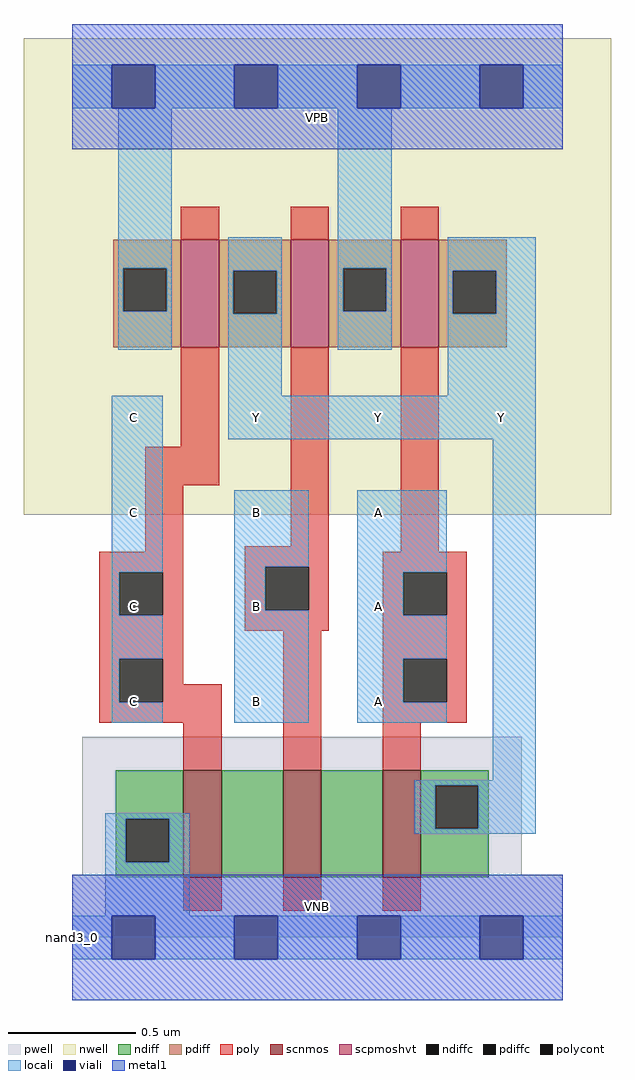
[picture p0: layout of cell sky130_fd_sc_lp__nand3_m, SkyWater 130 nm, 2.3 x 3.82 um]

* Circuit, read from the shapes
.subckt sky130_fd_sc_lp__nand3_m A B C VGND VNB VPB VPWR Y
XM1 n1 C VGND VNB sky130_fd_pr__nfet_01v8 w=0.42 l=0.15
XM2 n2 B n1 VNB sky130_fd_pr__nfet_01v8 w=0.42 l=0.15
XM3 Y A n2 VNB sky130_fd_pr__nfet_01v8 w=0.42 l=0.15
XM4 Y C VPWR VPB sky130_fd_pr__pfet_01v8_hvt w=0.42 l=0.15
XM5 VPWR B Y VPB sky130_fd_pr__pfet_01v8_hvt w=0.42 l=0.15
XM6 Y A VPWR VPB sky130_fd_pr__pfet_01v8_hvt w=0.42 l=0.15
.ends

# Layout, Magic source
magic
tech sky130A
magscale 1 2
<< nwell >>
rect -38 331 422 704
<< pwell >>
rect 8 49 352 157
rect 0 0 384 49
<< scnmos >>
rect 87 47 117 131
rect 165 47 195 131
rect 243 47 273 131
<< scpmoshvt >>
rect 85 462 115 546
rect 171 462 201 546
rect 257 462 287 546
<< ndiff >>
rect 34 93 87 131
rect 34 59 42 93
rect 76 59 87 93
rect 34 47 87 59
rect 117 47 165 131
rect 195 47 243 131
rect 273 119 326 131
rect 273 85 284 119
rect 318 85 326 119
rect 273 47 326 85
<< pdiff >>
rect 32 524 85 546
rect 32 490 40 524
rect 74 490 85 524
rect 32 462 85 490
rect 115 522 171 546
rect 115 488 126 522
rect 160 488 171 522
rect 115 462 171 488
rect 201 524 257 546
rect 201 490 212 524
rect 246 490 257 524
rect 201 462 257 490
rect 287 522 340 546
rect 287 488 298 522
rect 332 488 340 522
rect 287 462 340 488
<< ndiffc >>
rect 42 59 76 93
rect 284 85 318 119
<< pdiffc >>
rect 40 490 74 524
rect 126 488 160 522
rect 212 490 246 524
rect 298 488 332 522
<< poly >>
rect 85 546 115 572
rect 171 546 201 572
rect 257 546 287 572
rect 85 384 115 462
rect 57 354 115 384
rect 57 302 87 354
rect 171 306 201 462
rect 21 286 87 302
rect 21 252 37 286
rect 71 252 87 286
rect 21 218 87 252
rect 135 290 201 306
rect 257 302 287 462
rect 135 256 151 290
rect 185 256 201 290
rect 135 240 201 256
rect 243 286 309 302
rect 243 252 259 286
rect 293 252 309 286
rect 21 184 37 218
rect 71 198 87 218
rect 71 184 117 198
rect 21 168 117 184
rect 87 131 117 168
rect 165 131 195 240
rect 243 218 309 252
rect 243 184 259 218
rect 293 184 309 218
rect 243 168 309 184
rect 243 131 273 168
rect 87 21 117 47
rect 165 21 195 47
rect 243 21 273 47
<< polycont >>
rect 37 252 71 286
rect 151 256 185 290
rect 259 252 293 286
rect 37 184 71 218
rect 259 184 293 218
<< locali >>
rect 0 649 31 683
rect 65 649 127 683
rect 161 649 223 683
rect 257 649 319 683
rect 353 649 384 683
rect 36 524 78 649
rect 36 490 40 524
rect 74 490 78 524
rect 36 460 78 490
rect 122 522 164 548
rect 122 488 126 522
rect 160 488 164 522
rect 122 424 164 488
rect 208 524 250 649
rect 208 490 212 524
rect 246 490 250 524
rect 208 460 250 490
rect 294 522 363 548
rect 294 488 298 522
rect 332 488 363 522
rect 294 424 363 488
rect 31 286 71 424
rect 122 390 363 424
rect 31 252 37 286
rect 31 218 71 252
rect 31 184 37 218
rect 31 168 71 184
rect 127 290 185 350
rect 127 256 151 290
rect 127 168 185 256
rect 223 286 293 350
rect 223 252 259 286
rect 223 218 293 252
rect 223 184 259 218
rect 223 168 293 184
rect 329 123 363 390
rect 268 119 363 123
rect 26 93 92 97
rect 26 59 42 93
rect 76 59 92 93
rect 268 85 284 119
rect 318 85 363 119
rect 268 81 363 85
rect 26 17 92 59
rect 0 -17 31 17
rect 65 -17 127 17
rect 161 -17 223 17
rect 257 -17 319 17
rect 353 -17 384 17
<< viali >>
rect 31 649 65 683
rect 127 649 161 683
rect 223 649 257 683
rect 319 649 353 683
rect 31 -17 65 17
rect 127 -17 161 17
rect 223 -17 257 17
rect 319 -17 353 17
<< metal1 >>
rect 0 683 384 715
rect 0 649 31 683
rect 65 649 127 683
rect 161 649 223 683
rect 257 649 319 683
rect 353 649 384 683
rect 0 617 384 649
rect 0 17 384 49
rect 0 -17 31 17
rect 65 -17 127 17
rect 161 -17 223 17
rect 257 -17 319 17
rect 353 -17 384 17
rect 0 -49 384 -17
<< labels >>
flabel pwell s 0 0 384 49 0 FreeSans 200 0 0 0 VNB
port 5 nsew ground bidirectional
flabel nwell s 0 617 384 666 0 FreeSans 200 0 0 0 VPB
port 6 nsew power bidirectional
rlabel comment s 0 0 0 0 4 nand3_0
flabel metal1 s 0 617 384 666 0 FreeSans 340 0 0 0 VPWR
port 7 nsew power bidirectional
flabel metal1 s 0 0 384 49 0 FreeSans 340 0 0 0 VGND
port 4 nsew ground bidirectional
flabel locali s 223 168 257 202 0 FreeSans 340 0 0 0 A
port 1 nsew signal input
flabel locali s 223 242 257 276 0 FreeSans 340 0 0 0 A
port 1 nsew signal input
flabel locali s 223 316 257 350 0 FreeSans 340 0 0 0 A
port 1 nsew signal input
flabel locali s 127 168 161 202 0 FreeSans 340 0 0 0 B
port 2 nsew signal input
flabel locali s 127 242 161 276 0 FreeSans 340 0 0 0 B
port 2 nsew signal input
flabel locali s 127 316 161 350 0 FreeSans 340 0 0 0 B
port 2 nsew signal input
flabel locali s 31 168 65 202 0 FreeSans 340 0 0 0 C
port 3 nsew signal input
flabel locali s 31 242 65 276 0 FreeSans 340 0 0 0 C
port 3 nsew signal input
flabel locali s 31 316 65 350 0 FreeSans 340 0 0 0 C
port 3 nsew signal input
flabel locali s 31 390 65 424 0 FreeSans 340 0 0 0 C
port 3 nsew signal input
flabel locali s 127 390 161 424 0 FreeSans 340 0 0 0 Y
port 8 nsew signal output
flabel locali s 223 390 257 424 0 FreeSans 340 0 0 0 Y
port 8 nsew signal output
flabel locali s 319 390 353 424 0 FreeSans 340 0 0 0 Y
port 8 nsew signal output
<< properties >>
string LEFsite unit
string LEFclass CORE
string FIXED_BBOX 0 0 384 666
string GDS_FILE $PDKPATH/libs.ref/sky130_fd_sc_lp/gds/sky130_fd_sc_lp.gds
string LEFsymmetry X Y R90
string GDS_END 278498
string GDS_START 273390
<< end >>
